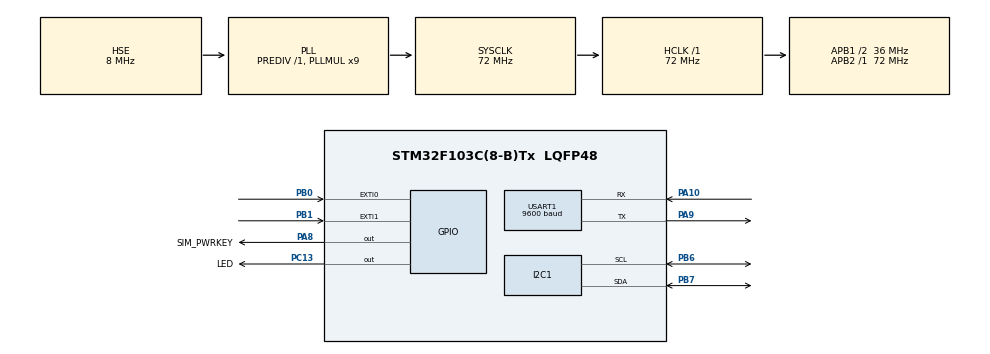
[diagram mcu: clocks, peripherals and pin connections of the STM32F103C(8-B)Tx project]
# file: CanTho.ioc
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FREERTOS.Tasks01=MQTT,24,250,MQTT_Task,Default,NULL,Dynamic,NULL,NULL;SENSORs,8,150,Sensor_Task,Default,NULL,Dynamic,NULL,NULL
FREERTOS.Timers01=SecTimer,Callback01,osTimerPeriodic,Default,NULL,Dynamic,NULL
FREERTOS.configMAX_TASK_NAME_LEN=100
FREERTOS.configMINIMAL_STACK_SIZE=100
FREERTOS.configTIMER_TASK_STACK_DEPTH=200
I2C1.I2C_Mode=I2C_Standard
IWDG.Prescaler=IWDG_PRESCALER_256
IWDG.Reload=3000
Mcu.Family=STM32F1
Mcu.Name=STM32F103C(8-B)Tx
Mcu.Package=LQFP48
NVIC.I2C1_EV_IRQn=true\:5\:0\:false\:false\:true\:true\:true\:true\:true
NVIC.PriorityGroup=NVIC_PRIORITYGROUP_4
NVIC.TIM1_UP_IRQn=true\:15\:0\:false\:false\:true\:false\:false\:true\:true
NVIC.TimeBase=TIM1_UP_IRQn
NVIC.TimeBaseIP=TIM1
NVIC.USART1_IRQn=true\:5\:0\:false\:false\:true\:true\:true\:true\:true
PA10.Mode=Asynchronous
PA10.Signal=USART1_RX
PA13.Mode=Serial_Wire
PA13.Signal=SYS_JTMS-SWDIO
PA14.Mode=Serial_Wire
PA14.Signal=SYS_JTCK-SWCLK
PA8.GPIO_Label=SIM_PWRKEY
PA8.Signal=GPIO_Output
PA9.Mode=Asynchronous
PA9.Signal=USART1_TX
PB0.Signal=GPXTI0
PB1.Signal=GPXTI1
PB6.Mode=I2C
PB6.Signal=I2C1_SCL
PB7.Mode=I2C
PB7.Signal=I2C1_SDA
PC13-TAMPER-RTC.GPIO_Label=LED
PC13-TAMPER-RTC.GPIO_PuPd=GPIO_PULLUP
PC13-TAMPER-RTC.Signal=GPIO_Output
PD0-OSC_IN.Mode=HSE-External-Oscillator
PD0-OSC_IN.Signal=RCC_OSC_IN
PD1-OSC_OUT.Mode=HSE-External-Oscillator
PD1-OSC_OUT.Signal=RCC_OSC_OUT
ProjectManager.HeapSize=0x200
ProjectManager.StackSize=0x400
ProjectManager.TargetToolchain=MDK-ARM V5.32
RCC.AHBFreq_Value=72000000
RCC.APB1CLKDivider=RCC_HCLK_DIV2
RCC.APB1Freq_Value=36000000
RCC.APB1TimFreq_Value=72000000
RCC.APB2Freq_Value=72000000
RCC.APB2TimFreq_Value=72000000
RCC.HCLKFreq_Value=72000000
RCC.PLLMUL=RCC_PLL_MUL9
RCC.PLLSourceVirtual=RCC_PLLSOURCE_HSE
RCC.SYSCLKFreq_VALUE=72000000
RCC.SYSCLKSource=RCC_SYSCLKSOURCE_PLLCLK
RCC.USBFreq_Value=72000000
USART1.BaudRate=9600
USART1.VirtualMode=VM_ASYNC
VP_FREERTOS_VS_CMSIS_V2.Mode=CMSIS_V2
VP_IWDG_VS_IWDG.Mode=IWDG_Activate
VP_SYS_VS_tim1.Mode=TIM1
board=custom

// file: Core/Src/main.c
/* USER CODE BEGIN Header */
/**
  ******************************************************************************
  * @file           : main.c
  * @brief          : Main program body
  ******************************************************************************
  * @attention
  *
  * Copyright (c) 2022 STMicroelectronics.
  * All rights reserved.
  *
  * This software is licensed under terms that can be found in the LICENSE file
  * in the root directory of this software component.
  * If no LICENSE file comes with this software, it is provided AS-IS.
  *
  ******************************************************************************
  */
/* USER CODE END Header */
#include "main.h"
#include "cmsis_os.h"
#include "i2c.h"
#include "iwdg.h"
#include "usart.h"
#include "gpio.h"

/* USER CODE BEGIN Includes */

#include "MQTTSim800.h"

/* USER CODE END Includes */

/* USER CODE BEGIN PV */
SIM800_t SIM800;
GPS_Sta_t myGPS;

/* USER CODE END PV */

void SystemClock_Config(void);
void MX_FREERTOS_Init(void);

/* USER CODE BEGIN 0 */
void HAL_UART_RxCpltCallback(UART_HandleTypeDef *huart)
{
  if (huart == UART_SIM800)
  {
    Sim800_RxCallBack();
  }
}

/* USER CODE END 0 */

int main(void)
{

  /* MCU Configuration--------------------------------------------------------*/

  /* Reset of all peripherals, Initializes the Flash interface and the Systick. */
  HAL_Init();

  /* Configure the system clock */
  SystemClock_Config();

  /* Initialize all configured peripherals */
  MX_GPIO_Init();
  MX_I2C1_Init();
  MX_USART1_UART_Init();
  MX_IWDG_Init();

  /* Init scheduler */
  osKernelInitialize();  /* Call init function for freertos objects (in freertos.c) */
  MX_FREERTOS_Init();
  /* Start scheduler */
  osKernelStart();

  /* We should never get here as control is now taken by the scheduler */
  /* Infinite loop */
  while (1)
  {

  }
}

void SystemClock_Config(void)
{
  RCC_OscInitTypeDef RCC_OscInitStruct = {0};
  RCC_ClkInitTypeDef RCC_ClkInitStruct = {0};

  /** Initializes the RCC Oscillators according to the specified parameters
  * in the RCC_OscInitTypeDef structure.
  */
  RCC_OscInitStruct.OscillatorType = RCC_OSCILLATORTYPE_LSI|RCC_OSCILLATORTYPE_HSE;
  RCC_OscInitStruct.HSEState = RCC_HSE_ON;
  RCC_OscInitStruct.HSEPredivValue = RCC_HSE_PREDIV_DIV1;
  RCC_OscInitStruct.HSIState = RCC_HSI_ON;
  RCC_OscInitStruct.LSIState = RCC_LSI_ON;
  RCC_OscInitStruct.PLL.PLLState = RCC_PLL_ON;
  RCC_OscInitStruct.PLL.PLLSource = RCC_PLLSOURCE_HSE;
  RCC_OscInitStruct.PLL.PLLMUL = RCC_PLL_MUL9;
  if (HAL_RCC_OscConfig(&RCC_OscInitStruct) != HAL_OK)
  {
    Error_Handler();
  }
  /** Initializes the CPU, AHB and APB buses clocks
  */
  RCC_ClkInitStruct.ClockType = RCC_CLOCKTYPE_HCLK|RCC_CLOCKTYPE_SYSCLK
                              |RCC_CLOCKTYPE_PCLK1|RCC_CLOCKTYPE_PCLK2;
  RCC_ClkInitStruct.SYSCLKSource = RCC_SYSCLKSOURCE_PLLCLK;
  RCC_ClkInitStruct.AHBCLKDivider = RCC_SYSCLK_DIV1;
  RCC_ClkInitStruct.APB1CLKDivider = RCC_HCLK_DIV2;
  RCC_ClkInitStruct.APB2CLKDivider = RCC_HCLK_DIV1;

  if (HAL_RCC_ClockConfig(&RCC_ClkInitStruct, FLASH_LATENCY_2) != HAL_OK)
  {
    Error_Handler();
  }
}

void HAL_TIM_PeriodElapsedCallback(TIM_HandleTypeDef *htim)
{
  if (htim->Instance == TIM1) {
    HAL_IncTick();
  }
}

void Error_Handler(void)
{
  __disable_irq();
  while (1)
  {
  }
}

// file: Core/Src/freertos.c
/* USER CODE BEGIN Header */
/**
  ******************************************************************************
  * File Name          : freertos.c
  * Description        : Code for freertos applications
  ******************************************************************************
  * @attention
  *
  * Copyright (c) 2022 STMicroelectronics.
  * All rights reserved.
  *
  * This software is licensed under terms that can be found in the LICENSE file
  * in the root directory of this software component.
  * If no LICENSE file comes with this software, it is provided AS-IS.
  *
  ******************************************************************************
  */
/* USER CODE END Header */

#include "FreeRTOS.h"
#include "task.h"
#include "main.h"
#include "cmsis_os.h"

/* USER CODE BEGIN Includes */

#include "MQTTSim800.h"
#include "mpu6050.h"
#include "math.h"
#include "string.h"
#include "stdio.h"

/* USER CODE END Includes */

/* USER CODE BEGIN PTD */

typedef struct
{
  uint8_t SIM;
  uint8_t GPRS;
  uint8_t MQTT;
} SIM800_St;

/* USER CODE END PTD */

/* USER CODE BEGIN PD */

#define SIM_R_OK    0
#define SIM_R_nOK   1

#define MPU_OK  0
#define MPU_nOK 1

/* USER CODE END PD */

/* USER CODE BEGIN Variables */

extern UART_HandleTypeDef huart1;
extern I2C_HandleTypeDef hi2c1;
extern IWDG_HandleTypeDef hiwdg;
extern SIM800_t SIM800;
extern uint8_t rx_data;
extern SIM800_St SIM800_Status;
extern GPS_Sta_t myGPS;
extern SIM800_Batt_t SIM800_Batt;

MPU6050_t MPU6050;

float gGravity = 0.0;

volatile uint8_t  is_SMS_done = 0;
uint8_t is_fall = 0;
uint8_t is_busy = 0;
uint8_t is_MPU_OK = 0;
uint8_t is_GPS_new = 0;

float Lon = 0.0;
float Lat = 0.0;

// char call[25] = "ATD+84816056426;\r\n";
char SMS[200] = {0};
// char SMSStrg[110] = "BENH NHAN DA BI NGA!\nToa do benh nhan:
//                     https://www.google.com/maps/search/?api=1&query=";
// char InfoBV1[110] = "Benh vien Da khoa Hoan My Cuu Long, SDT: 02923917901\nBenh vien Da khoa S.I.S Can Tho, SDT: 18001115\n";
// char InfoBV2[110] = "Benh vien Da khoa Thanh pho Can Tho, SDT: 02923821235\nBenh vien Da khoa Trung uong Can Tho, SDT: 0901215115\n";
char Number[13] = "0914989855";

/* USER CODE END Variables */
/* Definitions for MQTT */
osThreadId_t MQTTHandle;
const osThreadAttr_t MQTT_attributes = {
  .name = "MQTT",
  .stack_size = 350 * 4,
  .priority = (osPriority_t) osPriorityNormal,
};
/* Definitions for SENSORs */
osThreadId_t SENSORsHandle;
const osThreadAttr_t SENSORs_attributes = {
  .name = "SENSORs",
  .stack_size = 150 * 4,
  .priority = (osPriority_t) osPriorityLow,
};
/* Definitions for SecTimer */
osTimerId_t SecTimerHandle;
const osTimerAttr_t SecTimer_attributes = {
  .name = "SecTimer"
};

void MQTT_Task(void *argument);
void Sensor_Task(void *argument);
void Callback01(void *argument);

void MX_FREERTOS_Init(void); /* (MISRA C 2004 rule 8.1) */

void MX_FREERTOS_Init(void) {

  /* Create the timer(s) */
  /* creation of SecTimer */
  SecTimerHandle = osTimerNew(Callback01, osTimerPeriodic, NULL, &SecTimer_attributes);

  /* Create the thread(s) */
  /* creation of MQTT */
  MQTTHandle = osThreadNew(MQTT_Task, NULL, &MQTT_attributes);

  /* creation of SENSORs */
  SENSORsHandle = osThreadNew(Sensor_Task, NULL, &SENSORs_attributes);

}

void MQTT_Task(void *argument)
{
  /* USER CODE BEGIN MQTT_Task */

  //  Khoi tao cac tham so cho ket noi qua giao thuc MQTT
  SIM800.sim.apn = "m3-world";
  SIM800.sim.apn_user = "mms";
  SIM800.sim.apn_pass = "mms";
  SIM800.mqttServer.host = "hotrodotquy.vn";
  SIM800.mqttServer.port = 1883;
  SIM800.mqttClient.username = "";
  SIM800.mqttClient.clientID = "hm";
  SIM800.mqttClient.pass = "";
  SIM800.mqttClient.keepAliveInterval = 120;

  // Chuan bi nghe phan hoi tu module SIM
  osDelay(100);

  HAL_UART_Receive_IT(UART_SIM800, &rx_data, 1);

  //Kiem tra module SIM hoat dong chua? Neu chua thi bat module SIM
  while (SIM800_SendCommand("AT\r\n", "OK\r\n", CMD_DELAY) == SIM_R_nOK)
  {
    HAL_GPIO_WritePin(SIM_PWRKEY_GPIO_Port, SIM_PWRKEY_Pin, 1);
    osDelay(2000);
    HAL_GPIO_WritePin(SIM_PWRKEY_GPIO_Port, SIM_PWRKEY_Pin, 0);
    osDelay(2000);
  }

  osDelay(2000);
  // Reset CLK timeout
  if (is_MPU_OK == 1)     HAL_IWDG_Refresh(&hiwdg);

  SIM800_SendCommand("AT+CGNSPWR=1\r\n", "OK\r", 1000);

  // Bat dau ket noi MQTT
  MQTT_Init();

  // SIM800_SendCommand("AT\r\n", "OK\r\n", CMD_DELAY);
  // SIM800_SendCommand("ATE0\r\n", "OK\r\n", CMD_DELAY);
  // if (SIM800_SendCommand("AT\r\n", "OK\r\n", CMD_DELAY) == 0){SIM800_Status.SIM = 1;}
  // else
  // {
  //     SIM800_Status.SIM = 0;
  //     SIM800_Status.GPRS = 0;
  //     SIM800_Status.MQTT = 0;
  // }
  // SIM800_SendCommand("AT+CMGF=1\r\n", "OK\r\n", 1000);
  // SIM800_SendCommand("AT+CIPSHUT\r\n", "OK\r\n", CMD_DELAY);
  // SIM800_SendCommand("AT+CGATT=1\r\n", "OK\r\n", CMD_DELAY);

  // Reset CLK timeout
  if (is_MPU_OK == 1)     HAL_IWDG_Refresh(&hiwdg);

  // SIM800_SendCommand("AT+SAPBR=3,1,\"CONTYPE\",\"GPRS\"\r\n", "OK\r\n", CMD_DELAY);
  // SIM800_SendCommand("AT+SAPBR=3,1,\"APN\",\"CMNET\"\r\n", "OK\r\n", CMD_DELAY);
  // SIM800_SendCommand("AT+SAPBR=1,1\r\n", "OK\r\n", CMD_DELAY);
  // SIM800_SendCommand("AT+SAPBR=2,1\r\n", "OK\r\n", CMD_DELAY);
  // SIM800_SendCommand("AT+CLBS=1,1\r\n", "OK\r\n", 10000);

  // SIM800_SendCommand("ATE0\r\n", "OK\r\n", 1000);
  // SIM800_SendCommand("AT+CFUN=1\r\n", "OK\r\n", 1000);

  // SIM800_SendCommand("AT+CUSD=1,\"*101#\"\r\n", "OK\r\n", 5000);

  // SIM800_SendCommand("AT+CSCS?\r\n", "OK\r\n", 1000);
  // SIM800_SendCommand("AT+CSCS=\"GSM\"\r\n", "OK\r\n", 1000);
  // SIM800_SendCommand("AT+CSDH?\r\n", "OK\r\n", 1000);
  // SIM800_SendCommand("AT+CSMP=17,167,0,0\r\n", "OK\r\n", 1000);

  // Reset CLK timeout

  // Khoi tao timer 1s Reset CLK tu dong
  osTimerStart(SecTimerHandle, 2000);

  // Ban tin ket noi trang thai dau tien
  osDelay(200);
  getBattery();
  MQTT_Pub("medical_device/00000001/fall", "0");
  MQTT_PubUint8("medical_device/00000001/SIMBattP", SIM800_Batt.BattPerc);
  // MQTT_PubUint16("medical_device/00000001/SIMBattV", SIM800_Batt.BattVol);
  osDelay(200);
  uint32_t time = HAL_GetTick();
  uint32_t timeBatt = HAL_GetTick();
  uint32_t GPStime = HAL_GetTick();
  MQTT_Sub("medical_device/00000001/SDT");

  char str[100] = {0};

  /* Infinite loop */
  for(;;)
  {
    osDelay(1000);
    if (is_fall == 1)
    {
      // BENH NHAN DA NGA, GUI TIN NHAN
      memset(str, '\0', sizeof(str));
      memset(SMS, '\0', sizeof(SMS));
      strcat(SMS, "BENH NHAN DA BI NGA! SOS!\n");
      snprintf(str, sizeof(str), "AT+CMGS=\"%s\"\r\n", Number);
      if (SIM800_SendCommand(str, ">", 1000) == SIM_R_OK)
      {
        osDelay(200);
        if (is_GPS_new == 1)
        {
          memset(str, '\0', sizeof(str));
          if (myGPS.Time.Year != 1980)
            snprintf(str, sizeof(str), "Thoi diem: %d:%d:%d %d/%d/%d\n",  myGPS.Time.Hour,
                                                                          myGPS.Time.Minute,
                                                                          myGPS.Time.Second,
                                                                          myGPS.Time.Day,
                                                                          myGPS.Time.Month,
                                                                          myGPS.Time.Year);
          else
            snprintf(str, sizeof(str), "Thoi diem: %d:%d:%d %d/%d/%d\n", 0, 0, 0, 0, 0, 0);
          strcat(SMS, str);
          memset(str, '\0', sizeof(str));
          snprintf(str, sizeof(str), "Toa do: https://www.google.com/maps/search/?api=1&query=%s,%s\n", myGPS.cLat, myGPS.cLon);
          strcat(SMS, str);
        }
        else
        {
          memset(str, '\0', sizeof(str));
          if (myGPS.Time.Year != 1980)
            snprintf(str, sizeof(str), "Thoi diem: %d:%d:%d %d/%d/%d\n",  myGPS.Time.Hour,
                                                                          myGPS.Time.Minute,
                                                                          myGPS.Time.Second,
                                                                          myGPS.Time.Day,
                                                                          myGPS.Time.Month,
                                                                          myGPS.Time.Year);
          else
            snprintf(str, sizeof(str), "Thoi diem: %d:%d:%d %d/%d/%d\n", 0, 0, 0, 0, 0, 0);
          strcat(SMS, str);
          memset(str, '\0', sizeof(str));
          snprintf(str, sizeof(str), "Toa do lan cuoi: https://www.google.com/maps/search/?api=1&query=%f,%f\n", Lon, Lat);
          strcat(SMS, str);
        }
        HAL_UART_Transmit_IT(UART_SIM800, (uint8_t *)SMS, (uint16_t)strlen(SMS));
        osDelay(200);
        // HAL_UART_Transmit_IT(UART_SIM800, (uint8_t *){26}, (uint16_t)1);
        huart1.Instance->DR = 0b00011010;
        osDelay(200);

        while (is_SMS_done == 0);
        is_SMS_done = 0;
        // HAL_GPIO_TogglePin(LED_GPIO_Port, LED_Pin);
        // GUI BAN TIN MQTT BENH NHAN NGA
        MQTT_Pub("medical_device/00000001/fall", "1");
        osDelay(500);
        memset(SMS, '\0', sizeof(SMS));
        if (is_GPS_new == 1)  snprintf(SMS, sizeof(SMS), "%s,%s", myGPS.cLat, myGPS.cLon);
        else  snprintf(SMS, sizeof(SMS), "%f,%f", Lon, Lat);
        MQTT_Pub("medical_device/00000001/loc", SMS);
        osDelay(500);
        // HAL_GPIO_TogglePin(LED_GPIO_Port, LED_Pin);
        // HAL_UART_Transmit_IT(UART_SIM800, call, strlen(call));
        // GOI DIEN THOAI
        memset(str, '\0', sizeof(str));
        snprintf(str, sizeof(str), "ATD%s;\r\n", Number);
        SIM800_SendCommand(str, "OK\r\n", 2000);
        osDelay(30000);
        SIM800_SendCommand("ATH\r\n", "OK\r\n", 1000);
        // HAL_GPIO_TogglePin(LED_GPIO_Port, LED_Pin);
        time = HAL_GetTick();
        is_fall = 0;
      }
    }
    if ((HAL_GetTick() - time) >= 60000)
    {
      // ban tin ping moi 60s
      MQTT_Pub("medical_device/00000001/fall", "0");
      time = HAL_GetTick();
    }
    if ((HAL_GetTick() - timeBatt) >= 900000)
    {
      getBattery();
      MQTT_PubUint8("medical_device/00000001/SIMBattP", SIM800_Batt.BattPerc);
      // MQTT_PubUint16("medical_device/00000001/SIMBattV", SIM800_Batt.BattVol);
      if ((SIM800_Batt.BattPerc <= 55) || (SIM800_Batt.BattVol <= 3850))
      {
        memset(str, '\0', sizeof(str));
        snprintf(str, sizeof(str), "AT+CMGS=\"%s\"\r\n", Number);
        if (SIM800_SendCommand(str, ">", 1000) == SIM_R_OK)
        {
          osDelay(200);
          memset(str, '\0', sizeof(str));
          snprintf(str, sizeof(str), "Pin cua thiet bi dang o muc yeu (%i%), hay mang thiet bi ve tram sac", SIM800_Batt.BattPerc);
          HAL_UART_Transmit_IT(UART_SIM800, (uint8_t *)str, (uint16_t)strlen(str));
          osDelay(200);
          huart1.Instance->DR = 0b00011010;
          osDelay(200);
          while (is_SMS_done == 0);
          is_SMS_done = 0;
        }
        HAL_GPIO_WritePin(SIM_PWRKEY_GPIO_Port, SIM_PWRKEY_Pin, 1);
        osDelay(2000);
        HAL_GPIO_WritePin(SIM_PWRKEY_GPIO_Port, SIM_PWRKEY_Pin, 0);
      }
      time = HAL_GetTick();
      timeBatt = HAL_GetTick();
    }
    if (SIM800.mqttServer.connect == 0)
    {
      // ket noi lai MQTT
      MQTT_Init();
      MQTT_Sub("medical_device/00000001/SDT");
      osDelay(200);
      MQTT_Pub("medical_device/00000001/fall", "0");
      time = HAL_GetTick();
    }
    // if (is_done == 1)
    // {
    //   // Da test xong, truyen diem test len Server
    //   is_done = 0;
    //   char str[2];
    //   sprintf(str, "%d\0", gScore);
    //   MQTT_Pub("mandevices/stroke-medical/human/test/score", str);
    //   HAL_GPIO_TogglePin(LED_GPIO_Port, LED_Pin);
    //   time = HAL_GetTick();
    //   is_test = 0;
    // }
    if ((HAL_GetTick() - GPStime) >= 15000)
    {
      // SIM800_SendCommand("AT+CGNSINF\r\n", "", 10000);
      getGPS();
      if ((Lon != myGPS.Longitude) || (Lat != myGPS.Latitude))
      {
        osTimerStop(SecTimerHandle);
        osTimerStart(SecTimerHandle, 500);
        is_GPS_new = 1;
        Lon = myGPS.Longitude;
        Lat = myGPS.Latitude;
      }
      else
      {
        osTimerStop(SecTimerHandle);
        osTimerStart(SecTimerHandle, 2000);
        is_GPS_new = 0;
      }
      // if ((myGPS.Latitude != 0) && (myGPS.Longitude != 0))
      // {
      //   memset(SMS, '\0', sizeof(SMS));
      //   snprintf(SMS, sizeof(SMS), "%s,%s", myGPS.cLat, myGPS.cLon);
      //   MQTT_Pub("mandevices/stroke-medical/human/fall/loc", SMS);
      //   time = HAL_GetTick();
      // }
      GPStime = HAL_GetTick();
    }
    // HAL_GPIO_TogglePin(LED_GPIO_Port, LED_Pin);
    if (SIM800.mqttReceive.newEvent == 1)
    {
      if (strstr(SIM800.mqttReceive.topic, "medical_device/00000001/SDT") != NULL)
      {
        uint8_t i = 0;
        while (SIM800.mqttReceive.payload[i] != '^')
        {
          Number[i] = SIM800.mqttReceive.payload[i];
          i++;
        }
        Number[i] = '\0';
      }
      SIM800.mqttReceive.newEvent = 0;
    }
    if (is_MPU_OK == 1)     HAL_IWDG_Refresh(&hiwdg);
  }
  /* USER CODE END MQTT_Task */
}

void Sensor_Task(void *argument)
{
  /* USER CODE BEGIN Sensor_Task */

  osDelay(1000);
  // Khoi tao cam bien mpu6050
  while(MPU6050_Init(&hi2c1) == MPU_nOK);
  // osTimerStart(SecTimerHandle, 1000);

  // float data[20];
  /* Infinite loop */
  for(;;)
  {
    // READ SENSOR
    MPU6050_Read_Accel(&hi2c1, &MPU6050);

    // CALCULATE GRAVITY
    gGravity = sqrt((MPU6050.Ax)*(MPU6050.Ax) + (MPU6050.Ay)*(MPU6050.Ay) + (MPU6050.Az)*(MPU6050.Az));

    if (gGravity == 0)
    {
      // Gravity = 0 la cam bien k chay, smthg went wrong
      is_MPU_OK = 0;
    }
    if ((gGravity < 0.30) && (is_fall == 0) && (gGravity != 0))
    {
      // CHECK NGA, BENH NHAN DA NGA
      is_fall = 1;
      // HAL_GPIO_TogglePin(LED_GPIO_Port, LED_Pin);
      // vTaskResume(MQTTHandle);
    }
    if (is_MPU_OK == 0)
    {
      while(MPU6050_Init(&hi2c1) == MPU_nOK);
      is_MPU_OK = 1;
    }
    // if ((is_test == 1) && (is_busy == 0))
    // {
    //   // TEST
    //   HAL_GPIO_TogglePin(LED_GPIO_Port, LED_Pin);
    //   while(MPU6050_Init(&hi2c1) == MPU_nOK);
    //   for (uint8_t i = 0; i < 20; i++)
    //   {
    //     MPU6050_Read_Accel(&hi2c1, &MPU6050);
    //     data[i] = MPU6050.Az;
    //     osDelay(500);
    //   }
    //   uint8_t lowestAngelPos = 0;
    //   float error = 0;
    //   for(uint8_t i = 1; i < 20; i++)
    //   {
    //     error = data[lowestAngelPos] - data[i];
    //     if (error >= 0.03)
    //     {
    //       lowestAngelPos = i;
    //     }
    //   }
    //   if (data[lowestAngelPos] > 0.9)
    //   {
    //     gScore = 0;
    //   }
    //   else
    //   {
    //     if (((data[lowestAngelPos] < 0.6) && (lowestAngelPos <= 10)) || (data[lowestAngelPos] < 0.4))
    //     {
    //       gScore = 3;
    //     }
    //     else if (lowestAngelPos < 10)
    //     {
    //       gScore = 1;
    //     }
    //     else
    //     {
    //       gScore = 2;
    //     }
    //   }
    //   uint8_t dead = 1;
    //   for(uint8_t i = 0; i < 20; i++)
    //   {
    //     if(data[i] > 0.25)
    //     {
    //       dead = 0;
    //     }
    //   }
    //   if(dead)
    //   {
    //     gScore = 4;
    //   }
    //   is_done = 1;
    //   HAL_GPIO_TogglePin(LED_GPIO_Port, LED_Pin);
    // }

    // RESET CLK
    HAL_IWDG_Refresh(&hiwdg);
    osDelay(10);
  }
  /* USER CODE END Sensor_Task */
}

/* Callback01 function */
void Callback01(void *argument)
{
  /* USER CODE BEGIN Callback01 */
  // TIMER 1s RESET CLK
  HAL_GPIO_TogglePin(LED_GPIO_Port, LED_Pin);
  if (is_MPU_OK == 1)     HAL_IWDG_Refresh(&hiwdg);
  /* USER CODE END Callback01 */
}

/* USER CODE BEGIN Application */
void HAL_GPIO_EXTI_Callback(uint16_t GPIO_Pin)
{
  if ((GPIO_Pin == GPIO_PIN_0) && (is_fall == 0))
  {
    is_fall = 1;
  }
}
/* USER CODE END Application */
